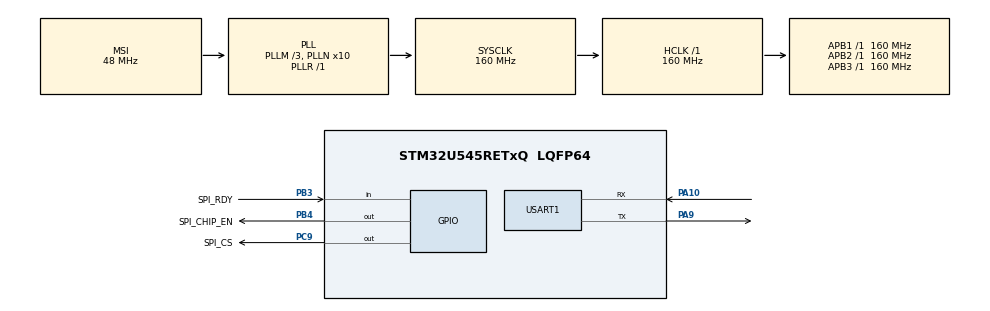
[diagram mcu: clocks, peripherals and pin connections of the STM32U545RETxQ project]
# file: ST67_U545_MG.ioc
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CORTEX_M33_NS.userName=CORTEX_M33
Mcu.Family=STM32U5
Mcu.Name=STM32U545RETxQ
Mcu.Package=LQFP64
NVIC.PriorityGroup=NVIC_PRIORITYGROUP_4
PA10.Mode=Asynchronous
PA10.Signal=USART1_RX
PA13\ (JTMS/SWDIO).Mode=Serial_Wire
PA13\ (JTMS/SWDIO).Signal=DEBUG_JTMS-SWDIO
PA14\ (JTCK/SWCLK).Mode=Serial_Wire
PA14\ (JTCK/SWCLK).Signal=DEBUG_JTCK-SWCLK
PA5.GPIO_Label=SPI_SCK
PA5.GPIO_Speed=GPIO_SPEED_FREQ_VERY_HIGH
PA5.Signal=SPI1_SCK
PA6.GPIO_Label=SPI_MISO
PA6.GPIO_Speed=GPIO_SPEED_FREQ_VERY_HIGH
PA6.Signal=SPI1_MISO
PA7.GPIO_Label=SPI_MOSI
PA7.GPIO_Speed=GPIO_SPEED_FREQ_VERY_HIGH
PA7.Signal=SPI1_MOSI
PA9.Mode=Asynchronous
PA9.Signal=USART1_TX
PB3\ (JTDO/TRACESWO).GPIO_Label=SPI_RDY
PB3\ (JTDO/TRACESWO).Signal=GPIO_Input
PB4\ (NJTRST).GPIO_Label=SPI_CHIP_EN
PB4\ (NJTRST).GPIO_Speed=GPIO_SPEED_FREQ_VERY_HIGH
PB4\ (NJTRST).Signal=GPIO_Output
PC9.GPIO_Label=SPI_CS
PC9.GPIO_Speed=GPIO_SPEED_FREQ_VERY_HIGH
PC9.Signal=GPIO_Output
PWR.PowerMode=PWR_SMPS_SUPPLY
ProjectManager.HeapSize=0x200
ProjectManager.StackSize=0x400
ProjectManager.TargetToolchain=CMake
RCC.ADCFreq_Value=16000000
RCC.AHBFreq_Value=160000000
RCC.APB1Freq_Value=160000000
RCC.APB1TimFreq_Value=160000000
RCC.APB2Freq_Value=160000000
RCC.APB2TimFreq_Value=160000000
RCC.APB3Freq_Value=160000000
RCC.CortexFreq_Value=160000000
RCC.DACCLockSelectionVirtual=RCC_DAC1CLKSOURCE_LSI
RCC.DACCLockSelectionVirtualString=RCC_DAC1CLKSOURCE_LSI
RCC.EPOD_VALUE=48000000
RCC.HCLKFreq_Value=160000000
RCC.HSE_VALUE=16000000
RCC.HSI48_VALUE=48000000
RCC.HSI_VALUE=16000000
RCC.LSE_VALUE=32768
RCC.LSIDIV_VALUE=32000
RCC.MSIClockRange=RCC_MSIRANGE_0
RCC.MSI_VALUE=48000000
RCC.PLL1R=1
RCC.PLL2FRACN=0
RCC.PLL3FRACN=0
RCC.PLLFRACN=0
RCC.PLLM=3
RCC.PLLN=10
RCC.SYSCLKFreq_VALUE=160000000
RCC.SYSCLKSource=RCC_SYSCLKSOURCE_PLLCLK
RCC.USBFreq_Value=48000000
RCC.VCOOutputFreq_Value=160000000
USART1.VirtualMode-Asynchronous=VM_ASYNC
VP_ICACHE_VS_ENABLE_ICACHE_MEMORY.Mode=Memoryregions
VP_ICACHE_VS_ICACHE.Mode=DirectMappedCache
VP_LPBAMQUEUE_VS_QUEUE.Mode=QUEUEMODE
VP_MEMORYMAP_VS_MEMORYMAP.Mode=CurAppReg
VP_PWR_VS_LPOM.Mode=PowerOptimisation
VP_PWR_VS_SECSignals.Mode=Security/Privilege
VP_RNG_VS_RNG.Mode=RNG_Activate
board=NUCLEO-U545RE-Q

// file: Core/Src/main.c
/* USER CODE BEGIN Header */
/**
  ******************************************************************************
  * @file           : main.c
  * @brief          : Main program body
  ******************************************************************************
  * @attention
  *
  * Copyright (c) 2026 STMicroelectronics.
  * All rights reserved.
  *
  * This software is licensed under terms that can be found in the LICENSE file
  * in the root directory of this software component.
  * If no LICENSE file comes with this software, it is provided AS-IS.
  *
  ******************************************************************************
  */
/* USER CODE END Header */
#include "main.h"

/* USER CODE BEGIN Includes */
#include "mongoose_glue.h"
/* USER CODE END Includes */

/* USER CODE BEGIN PD */
#define WIFISPI SPI1
/* USER CODE END PD */

RNG_HandleTypeDef hrng;

UART_HandleTypeDef huart1;

void SystemClock_Config(void);
static void SystemPower_Config(void);
static void MX_GPIO_Init(void);
static void MX_ICACHE_Init(void);
static void MX_RNG_Init(void);
static void MX_USART1_UART_Init(void);

/* USER CODE BEGIN 0 */
#define BIT(x) (1UL << (x))
#define CLRSET(reg, clear, set) ((reg) = ((reg) & ~(clear)) | (set))

static inline void spin(volatile uint32_t n) {
  while (n--)
    (void)0;
}

static inline void hal_spi_init(SPI_TypeDef *spi, uint16_t div) {
  (void)spi;
  uint32_t br = 0; // Baud rate prescaler: div = 2,4,8...256 -> MBR = 0..7
  while (div > 2)
    div >>= 1, br++;
  if (br > 7)
    br = 7;

  CLRSET(RCC->CCIPR1, 3 << 20, 1); // SYSCLK source
  RCC->APB2ENR |= BIT(12); // SPI1EN
  spin(100);
  spi->CR1 = 0;                  // disable SPI
  spi->CR1 = SPI_CR1_SSI_Msk; // SSI
  spi->CFG1 = (7 << SPI_CFG1_DSIZE_Pos) | (br << SPI_CFG1_MBR_Pos); // DSIZE = 8-bit, MBR
  spi->CFG2 = SPI_CFG2_SSM_Msk | SPI_CFG2_MASTER_Msk;
  spi->CR1 |= SPI_CR1_SPE_Msk; // Enable SPI
  spi->CR1 |= SPI_CR1_CSTART_Msk; // Start transfer
}

static inline uint8_t hal_spi_xfer_byte(SPI_TypeDef *spi, uint8_t byte) {
  (void)spi;
  while ((spi->SR & SPI_SR_TXP_Msk) == 0)
    spin(1); // TXP
  *(volatile uint8_t *) &spi->TXDR = byte;
  while (((spi->SR & SPI_SR_RXP_Msk) == 0) && ((spi->SR & SPI_SR_RXWNE_Msk) == 0) && ((spi->SR & SPI_SR_RXPLVL_Msk) == 0))
    spin(1);        // RXP
  uint8_t rx = *(volatile uint8_t *) &spi->RXDR;
  return rx;
}

static inline void hal_spi_tx_rx(SPI_TypeDef *spi, uint8_t *tx, uint8_t *rx, size_t len) {
  for (size_t i = 0; i < len; i++) {
    uint8_t rx_ = hal_spi_xfer_byte(spi, tx ? tx[i] : 0);
    if (rx) rx[i] = rx_;
  }
}

static inline bool hal_spi_ready(SPI_TypeDef *spi) {
  (void) spi;
  return HAL_GPIO_ReadPin(SPI_RDY_GPIO_Port, SPI_RDY_Pin);
}

static inline void hal_spi_select(SPI_TypeDef *spi, bool s) {
  (void)spi;
  HAL_GPIO_WritePin(SPI_CS_GPIO_Port, SPI_CS_Pin, s);
}

static inline void hal_spi_done(SPI_TypeDef *spi) {
  while((spi->SR & SPI_SR_TXC_Msk) == 0) spin(1);
  spi->IFCR = 0xffff; // clear all flags
}

static bool hwspecific_is_ready(void) {
  return hal_spi_ready(WIFISPI);
}

static void hwspecific_spi_begin(void *arg) {
  hal_spi_select(WIFISPI, true);
  (void) arg;
}

static void hwspecific_spi_txn(void *arg, uint8_t *txdata, uint8_t *rxdata, size_t len) {
  while (len--) {
    uint8_t rx = hal_spi_xfer_byte(WIFISPI, txdata != NULL ? *txdata++ : 0);
    if (rxdata != NULL) *rxdata++ = rx;
  }
  hal_spi_done(WIFISPI);
  (void) arg;
}

static void hwspecific_spi_end(void *arg) {
  hal_spi_select(WIFISPI, false);
  (void) arg;
}

void hwspecific_spi_init(void) {
  HAL_GPIO_WritePin(SPI_CHIP_EN_GPIO_Port, SPI_CHIP_EN_Pin, 0);
  hal_spi_init(WIFISPI, 128); // runs at 1.25MHz (SYS_CLK/128)
  mg_delayms(10);
  HAL_GPIO_WritePin(SPI_CHIP_EN_GPIO_Port, SPI_CHIP_EN_Pin, 1);
}

static const struct mg_tcpip_spi spi = {NULL, hwspecific_spi_begin, hwspecific_spi_end, hwspecific_spi_txn};

void wifi_setconfig(void *data) {
  struct mg_tcpip_driver_st67w6_data *d = (struct mg_tcpip_driver_st67w6_data *) data;
  d->wifi.ssid = WIZARD_WIFI_NAME;
  d->wifi.pass = WIZARD_WIFI_PASS;
  d->wifi.apssid = WIZARD_WIFI_AP_NAME;
  d->wifi.appass = WIZARD_WIFI_AP_PASS;
  d->wifi.apip = MG_IPV4(192, 168, 169, 1);
  d->wifi.apmask = MG_IPV4(255, 255, 255, 0);
  d->wifi.security = 0;
  d->wifi.apsecurity = 0;
  d->wifi.apchannel = 10;
  d->wifi.apmode = WIZARD_ENABLE_WIFI_AP;
  d->spi = (struct mg_tcpip_spi *) &spi;
  d->is_ready = hwspecific_is_ready;
}

bool mg_random(void *buf, size_t len) {  // Use on-board RNG
  for (size_t n = 0; n < len; n += sizeof(uint32_t)) {
    uint32_t r;
    HAL_RNG_GenerateRandomNumber(&hrng, &r);
    memcpy((char *) buf + n, &r, n + sizeof(r) > len ? len - n : sizeof(r));
  }
  return true; // TODO(): ensure successful RNG init, then return on false above
}

uint64_t mg_millis(void) {
  return HAL_GetTick();
}

int _write(int fd, unsigned char *buf, int len) {
  if (fd == 1 || fd == 2) {                     // stdout or stderr ?
    HAL_UART_Transmit(&huart1, buf, len, 999);  // Print to the UART
  }
  return len;
}

void my_get_leds(struct leds *data) {
  data->led1 = HAL_GPIO_ReadPin(GPIOB, GPIO_PIN_0);
  //data->led2 = HAL_GPIO_ReadPin(GPIOB, GPIO_PIN_7);
}

void my_set_leds(struct leds *data) {
  HAL_GPIO_WritePin(GPIOB, GPIO_PIN_0, data->led1);
  //HAL_GPIO_WritePin(GPIOB, GPIO_PIN_7, data->led2);
}
/* USER CODE END 0 */

int main(void)
{

  /* MCU Configuration--------------------------------------------------------*/

  /* Reset of all peripherals, Initializes the Flash interface and the Systick. */
  HAL_Init();

  /* Configure the System Power */
  SystemPower_Config();

  /* Configure the system clock */
  SystemClock_Config();

  /* Initialize all configured peripherals */
  MX_GPIO_Init();
  MX_ICACHE_Init();
  MX_RNG_Init();
  MX_USART1_UART_Init();
  /* USER CODE BEGIN 2 */
hwspecific_spi_init();
mongoose_init();
  /* USER CODE END 2 */

  /* Infinite loop */
  /* USER CODE BEGIN WHILE */
  while (1)
  {
    mongoose_poll();

    /* USER CODE END WHILE */

  }
}

void SystemClock_Config(void)
{
  RCC_OscInitTypeDef RCC_OscInitStruct = {0};
  RCC_ClkInitTypeDef RCC_ClkInitStruct = {0};

  /** Configure the main internal regulator output voltage
  */
  if (HAL_PWREx_ControlVoltageScaling(PWR_REGULATOR_VOLTAGE_SCALE1) != HAL_OK)
  {
    Error_Handler();
  }

  /** Initializes the CPU, AHB and APB buses clocks
  */
  RCC_OscInitStruct.OscillatorType = RCC_OSCILLATORTYPE_HSI48|RCC_OSCILLATORTYPE_MSI;
  RCC_OscInitStruct.HSI48State = RCC_HSI48_ON;
  RCC_OscInitStruct.MSIState = RCC_MSI_ON;
  RCC_OscInitStruct.MSICalibrationValue = RCC_MSICALIBRATION_DEFAULT;
  RCC_OscInitStruct.MSIClockRange = RCC_MSIRANGE_0;
  RCC_OscInitStruct.PLL.PLLState = RCC_PLL_ON;
  RCC_OscInitStruct.PLL.PLLSource = RCC_PLLSOURCE_MSI;
  RCC_OscInitStruct.PLL.PLLMBOOST = RCC_PLLMBOOST_DIV4;
  RCC_OscInitStruct.PLL.PLLM = 3;
  RCC_OscInitStruct.PLL.PLLN = 10;
  RCC_OscInitStruct.PLL.PLLP = 2;
  RCC_OscInitStruct.PLL.PLLQ = 2;
  RCC_OscInitStruct.PLL.PLLR = 1;
  RCC_OscInitStruct.PLL.PLLRGE = RCC_PLLVCIRANGE_1;
  RCC_OscInitStruct.PLL.PLLFRACN = 0;
  if (HAL_RCC_OscConfig(&RCC_OscInitStruct) != HAL_OK)
  {
    Error_Handler();
  }

  /** Initializes the CPU, AHB and APB buses clocks
  */
  RCC_ClkInitStruct.ClockType = RCC_CLOCKTYPE_HCLK|RCC_CLOCKTYPE_SYSCLK
                              |RCC_CLOCKTYPE_PCLK1|RCC_CLOCKTYPE_PCLK2
                              |RCC_CLOCKTYPE_PCLK3;
  RCC_ClkInitStruct.SYSCLKSource = RCC_SYSCLKSOURCE_PLLCLK;
  RCC_ClkInitStruct.AHBCLKDivider = RCC_SYSCLK_DIV1;
  RCC_ClkInitStruct.APB1CLKDivider = RCC_HCLK_DIV1;
  RCC_ClkInitStruct.APB2CLKDivider = RCC_HCLK_DIV1;
  RCC_ClkInitStruct.APB3CLKDivider = RCC_HCLK_DIV1;

  if (HAL_RCC_ClockConfig(&RCC_ClkInitStruct, FLASH_LATENCY_4) != HAL_OK)
  {
    Error_Handler();
  }
}

/**
  * @brief Power Configuration
  * @retval None
  */
static void SystemPower_Config(void)
{

  /*
   * Switch to SMPS regulator instead of LDO
   */
  if (HAL_PWREx_ConfigSupply(PWR_SMPS_SUPPLY) != HAL_OK)
  {
    Error_Handler();
  }
}

static void MX_ICACHE_Init(void)
{

  /** Enable instruction cache in 1-way (direct mapped cache)
  */
  if (HAL_ICACHE_ConfigAssociativityMode(ICACHE_1WAY) != HAL_OK)
  {
    Error_Handler();
  }
  if (HAL_ICACHE_Enable() != HAL_OK)
  {
    Error_Handler();
  }

}

static void MX_RNG_Init(void)
{

  hrng.Instance = RNG;
  hrng.Init.ClockErrorDetection = RNG_CED_ENABLE;
  if (HAL_RNG_Init(&hrng) != HAL_OK)
  {
    Error_Handler();
  }

}

static void MX_USART1_UART_Init(void)
{

  huart1.Instance = USART1;
  huart1.Init.BaudRate = 115200;
  huart1.Init.WordLength = UART_WORDLENGTH_8B;
  huart1.Init.StopBits = UART_STOPBITS_1;
  huart1.Init.Parity = UART_PARITY_NONE;
  huart1.Init.Mode = UART_MODE_TX_RX;
  huart1.Init.HwFlowCtl = UART_HWCONTROL_NONE;
  huart1.Init.OverSampling = UART_OVERSAMPLING_16;
  huart1.Init.OneBitSampling = UART_ONE_BIT_SAMPLE_DISABLE;
  huart1.Init.ClockPrescaler = UART_PRESCALER_DIV1;
  huart1.AdvancedInit.AdvFeatureInit = UART_ADVFEATURE_NO_INIT;
  if (HAL_UART_Init(&huart1) != HAL_OK)
  {
    Error_Handler();
  }
  if (HAL_UARTEx_SetTxFifoThreshold(&huart1, UART_TXFIFO_THRESHOLD_1_8) != HAL_OK)
  {
    Error_Handler();
  }
  if (HAL_UARTEx_SetRxFifoThreshold(&huart1, UART_RXFIFO_THRESHOLD_1_8) != HAL_OK)
  {
    Error_Handler();
  }
  if (HAL_UARTEx_DisableFifoMode(&huart1) != HAL_OK)
  {
    Error_Handler();
  }

}

static void MX_GPIO_Init(void)
{
  GPIO_InitTypeDef GPIO_InitStruct = {0};

  /* GPIO Ports Clock Enable */
  __HAL_RCC_GPIOA_CLK_ENABLE();
  __HAL_RCC_GPIOC_CLK_ENABLE();
  __HAL_RCC_GPIOB_CLK_ENABLE();

  /*Configure GPIO pin Output Level */
  HAL_GPIO_WritePin(SPI_CS_GPIO_Port, SPI_CS_Pin, GPIO_PIN_RESET);

  /*Configure GPIO pin Output Level */
  HAL_GPIO_WritePin(SPI_CHIP_EN_GPIO_Port, SPI_CHIP_EN_Pin, GPIO_PIN_RESET);

  /*Configure GPIO pins : SPI_SCK_Pin SPI_MISO_Pin SPI_MOSI_Pin */
  GPIO_InitStruct.Pin = SPI_SCK_Pin|SPI_MISO_Pin|SPI_MOSI_Pin;
  GPIO_InitStruct.Mode = GPIO_MODE_AF_PP;
  GPIO_InitStruct.Pull = GPIO_NOPULL;
  GPIO_InitStruct.Speed = GPIO_SPEED_FREQ_VERY_HIGH;
  GPIO_InitStruct.Alternate = GPIO_AF5_SPI1;
  HAL_GPIO_Init(GPIOA, &GPIO_InitStruct);

  /*Configure GPIO pin : SPI_CS_Pin */
  GPIO_InitStruct.Pin = SPI_CS_Pin;
  GPIO_InitStruct.Mode = GPIO_MODE_OUTPUT_PP;
  GPIO_InitStruct.Pull = GPIO_NOPULL;
  GPIO_InitStruct.Speed = GPIO_SPEED_FREQ_VERY_HIGH;
  HAL_GPIO_Init(SPI_CS_GPIO_Port, &GPIO_InitStruct);

  /*Configure GPIO pin : SPI_RDY_Pin */
  GPIO_InitStruct.Pin = SPI_RDY_Pin;
  GPIO_InitStruct.Mode = GPIO_MODE_INPUT;
  GPIO_InitStruct.Pull = GPIO_NOPULL;
  HAL_GPIO_Init(SPI_RDY_GPIO_Port, &GPIO_InitStruct);

  /*Configure GPIO pin : SPI_CHIP_EN_Pin */
  GPIO_InitStruct.Pin = SPI_CHIP_EN_Pin;
  GPIO_InitStruct.Mode = GPIO_MODE_OUTPUT_PP;
  GPIO_InitStruct.Pull = GPIO_NOPULL;
  GPIO_InitStruct.Speed = GPIO_SPEED_FREQ_VERY_HIGH;
  HAL_GPIO_Init(SPI_CHIP_EN_GPIO_Port, &GPIO_InitStruct);

}

void Error_Handler(void)
{
  __disable_irq();
  while (1)
  {
  }
}
